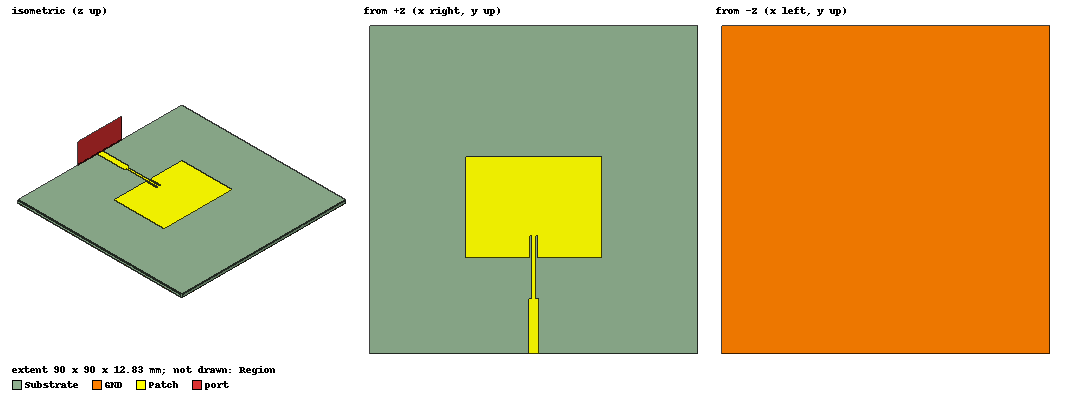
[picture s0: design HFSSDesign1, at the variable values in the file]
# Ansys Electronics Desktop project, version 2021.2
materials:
  vacuum: permittivity=1
  FR4_epoxy: permittivity=4.4 dielectric_loss_tangent=0.02
  pec: conductivity=1e+30

design HFSSDesign1 (HFSS, DrivenModal, model units mm)
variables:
  Sub_w = 90mm
  Sub_L = 90mm
  Sub_h = 1.6mm
  w = 37.26mm
  L = 27.5mm
  F_L = 15mm
  F_tL = 17.45mm
  t = 0.035mm
  F_w = 2.98mm
  F_sw = 1.1mm
  Patch_L = 6mm
  f = 2.4
  c = 300mm
  Slot_w = 2.3mm
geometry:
  Substrate [FR4_epoxy] = box(corner=(-Sub_w/2, 0mm, 0mm), size=(Sub_w, Sub_L, -Sub_h))
  Patch [pec] = box(corner=(-w/2, F_L+F_tL-Patch_L, 0mm), size=(w, L, t))
  Feed = box(corner=(-F_w/2, 0, 0mm), size=(F_w, F_L, t))
  F_str = box(corner=(-F_sw/2, F_L, 0mm), size=(F_sw, F_tL, t))
  port = rectangle(corner=(-8*F_w/2, 0mm, -Sub_h), z_size=8*Sub_h, x_size=8*F_w)
  Region [vacuum] = region(absolute_offset: +X=0.25*c/f, -X=0.25*c/f, +Y=0.25*c/f, -Y=0mm, +Z=0.25*c/f, -Z=0mm)
  GND [pec] = box(corner=(-Sub_w/2, 0mm, -Sub_h), size=(Sub_w, Sub_L, -t))
  Patch_slot = box(corner=(-Slot_w/2, F_L+F_tL-Patch_L, 0mm), size=(Slot_w, Patch_L, t))
  Patch.subtract(Patch_slot)
  Patch.unite(F_str)
  Patch.unite(Feed)
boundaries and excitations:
  Rad1: Radiation Objects=Region
  1: Wave Port Objects=port NumModes=1 Modes{Mode1{CharImp=Zpi RenormImp=50ohm}}
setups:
  Setup1: HfssDriven Frequency=2.45GHz MaxDeltaS=0.02 MaximumPasses=6 MinimumPasses=1 MinimumConvergedPasses=1 PercentRefinement=30 BasisOrder=1 PortAccuracy=2
    sweep Sweep: 1.2GHz to 3.6GHz step 0.05GHz; Type=Fast SaveFields
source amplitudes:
  1:1: 1W 0deg
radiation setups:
  3d: Infinite Sphere Theta=0deg..360deg step 2deg Phi=0deg..180deg step 2deg
  E: Infinite Sphere Theta=0deg..360deg step 2deg Phi=90deg..90deg step 0deg
  H: Infinite Sphere Theta=0deg..360deg step 2deg Phi=0deg..0deg step 0deg
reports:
  S Parameter Plot 1: dB(S(1,1)) vs Freq on Setup1 : Sweep; markers m1 at 2.45GHz, m2 at 2.2GHz, MY1 at y=-10
  Realized Gain Plot 1: dB(RealizedGainTotal) vs Phi, Theta on Setup1 : Sweep, 3d [Freq=2.45GHz]
  Gain Plot 1: dB(GainTotal) vs Theta on Setup1 : LastAdaptive, E [Phi=all Freq=2.45GHz Sub_w=all Sub_L=all w=all L=all F_sw=all]; dB(GainTotal) vs Theta on Setup1 : LastAdaptive, H [Phi=all Freq=2.45GHz Sub_w=all Sub_L=all w=all L=all F_sw=all]
